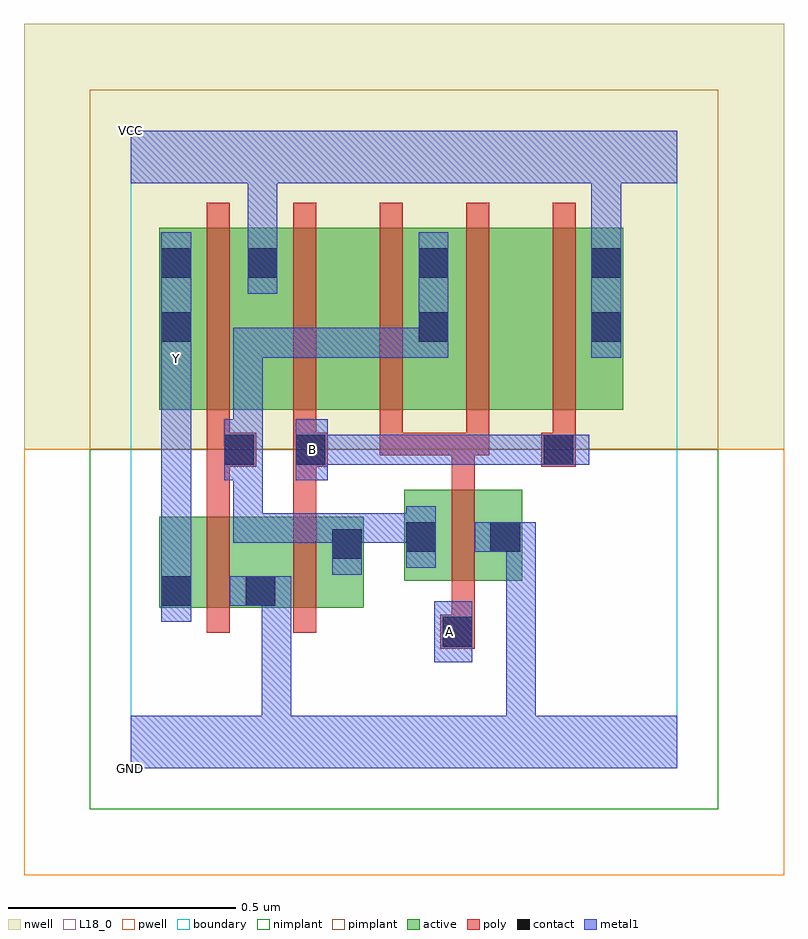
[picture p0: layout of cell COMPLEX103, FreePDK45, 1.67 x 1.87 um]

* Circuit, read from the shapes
.subckt COMPLEX103 A B GND VCC Y
M1 GND n1 Y VSUBS nfet w=0.2u l=0.05u
M2 n1 B GND VSUBS nfet w=0.2u l=0.05u
M3 GND A n1 VSUBS nfet w=0.2u l=0.05u
M4 VCC n1 Y n2 pfet w=0.4u l=0.05u
M5 n3 B VCC n2 pfet w=0.4u l=0.05u
M6 n1 A n3 n2 pfet w=0.4u l=0.05u
M7 n4 A n1 n2 pfet w=0.4u l=0.05u
M8 VCC B n4 n2 pfet w=0.4u l=0.05u
.ends

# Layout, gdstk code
import gdstk
lib = gdstk.Library(unit=1e-6, precision=1e-09)
def R(c, l, rs):  # rectangles x0, y0, x1, y1
    for r in rs: c.add(gdstk.rectangle(r[:2], r[2:], *l))
def A(c, l, x, y, w, h, nx, ny, dx, dy):  # array of equal rectangles
    R(c, l, [(x+i*dx, y+j*dy, x+i*dx+w, y+j*dy+h) for i in range(nx) for j in range(ny)])
active = (1, 0)
pwell = (2, 0)
nwell = (3, 0)
nimplant = (4, 0)
pimplant = (5, 0)
poly = (9, 0)
contact = (10, 0)
metal1 = (11, 0)
L18_0 = (18, 0)
boundary = (235, 0)

complex103 = lib.new_cell('COMPLEX103')
R(complex103, active, [(0.062,0.352,0.322,0.552), (0.062,0.352,0.137,0.552), (0.247,0.352,0.512,0.552), (0.247,0.352,0.322,0.427), (0.6,0.412,0.86,0.612), (0.437,0.445,0.512,0.552), (0.6,0.445,0.675,0.612), (0.785,0.445,0.86,0.612), (0.062,0.787,0.137,1.155), (0.062,0.787,0.327,1.187), (0.252,0.787,0.477,1.187), (0.477,0.787,0.702,1.187), (0.627,0.787,0.857,1.187), (0.857,0.787,1.082,1.187), (1.007,0.787,1.082,1.155), (0.252,0.907,0.327,1.155), (0.627,0.907,0.702,1.155)])
R(complex103, pwell, [(-0.235,-0.235,1.435,0.7)])
R(complex103, nwell, [(-0.235,0.7,1.435,1.635)])
R(complex103, nimplant, [(-0.09,-0.09,1.29,0.7)])
R(complex103, pimplant, [(-0.09,0.7,1.29,1.49)])
A(complex103, poly, 0.167, 0.687, 0.05, 0.095, 5, 1, 0.19, 0)
A(complex103, poly, 0.167, 0.732, 0.05, 0.51, 5, 1, 0.19, 0)
R(complex103, poly, [(0.68,0.262,0.755,0.337), (0.705,0.287,0.755,0.407), (0.167,0.297,0.217,0.607), (0.357,0.297,0.407,0.607), (0.705,0.357,0.755,0.667), (0.167,0.557,0.217,0.712), (0.357,0.557,0.407,0.712), (0.705,0.617,0.755,0.737), (0.167,0.662,0.275,0.737), (0.357,0.662,0.432,0.737), (0.902,0.662,0.977,0.737), (0.547,0.687,0.755,0.737), (0.547,0.687,0.597,0.737), (0.547,0.687,0.597,0.737), (0.547,0.687,0.597,0.737), (0.705,0.687,0.787,0.737)])
R(complex103, contact, [(0.685,0.267,0.75,0.332), (0.067,0.357,0.132,0.422), (0.252,0.357,0.317,0.422), (0.442,0.46,0.507,0.525), (0.605,0.475,0.67,0.54), (0.79,0.475,0.855,0.54), (0.205,0.667,0.27,0.732), (0.362,0.667,0.427,0.732), (0.907,0.667,0.972,0.732), (0.067,0.937,0.132,1.002), (0.632,0.937,0.697,1.002), (1.012,0.937,1.077,1.002), (0.067,1.077,0.132,1.142), (0.257,1.077,0.322,1.142), (0.632,1.077,0.697,1.142), (1.012,1.077,1.077,1.142)])
R(complex103, metal1, [(0,0,1.2,0.115), (0.287,0.05,0.352,0.422), (0.825,0.05,0.89,0.115), (0.825,0.05,0.89,0.115), (0.825,0.05,0.89,0.115), (0.825,0.05,0.89,0.115), (0.825,0.05,0.89,0.115), (0.825,0.05,0.89,0.115), (0.825,0.05,0.89,0.54), (0.667,0.232,0.75,0.367), (0.067,0.322,0.132,0.457), (0.217,0.357,0.352,0.422), (0.287,0.357,0.352,0.422), (0.287,0.357,0.352,0.422), (0.287,0.357,0.352,0.422), (0.287,0.357,0.352,0.422), (0.287,0.357,0.352,0.422), (0.287,0.357,0.352,0.422), (0.067,0.392,0.132,0.897), (0.442,0.425,0.507,0.56), (0.605,0.44,0.67,0.575), (0.755,0.475,0.89,0.54), (0.225,0.495,0.29,0.56), (0.225,0.495,0.452,0.56), (0.225,0.495,0.29,0.767), (0.387,0.495,0.452,0.56), (0.387,0.495,0.507,0.56), (0.442,0.495,0.59,0.56), (0.525,0.495,0.59,0.56), (0.525,0.495,0.67,0.56), (0.205,0.632,0.27,0.767), (0.362,0.632,0.432,0.767), (0.367,0.667,0.432,0.732), (0.367,0.667,0.432,0.732), (0.367,0.667,0.595,0.732), (0.53,0.667,0.595,0.732), (0.53,0.667,0.645,0.732), (0.58,0.667,0.645,0.732), (0.58,0.667,0.732,0.732), (0.667,0.667,0.732,0.732), (0.667,0.667,0.937,0.732), (0.872,0.667,0.937,0.732), (0.872,0.667,0.937,0.732), (0.872,0.667,1.007,0.732), (0.205,0.702,0.29,0.767), (0.225,0.702,0.29,0.767), (0.225,0.702,0.29,0.967), (0.067,0.832,0.132,0.967), (0.067,0.902,0.132,1.177), (0.067,0.902,0.132,0.967), (0.225,0.902,0.29,0.967), (0.225,0.902,0.452,0.967), (0.387,0.902,0.452,0.967), (0.387,0.902,0.452,0.967), (0.387,0.902,0.452,0.967), (0.387,0.902,0.59,0.967), (0.525,0.902,0.59,0.967), (0.525,0.902,0.697,0.967), (0.632,0.902,0.697,1.177), (1.012,0.902,1.077,1.177), (0.257,1.042,0.322,1.177), (0.257,1.112,0.322,1.35), (1.012,1.112,1.077,1.35), (0,1.285,1.2,1.4)])
R(complex103, L18_0, [(0,0,1.2,0.115), (0.287,0.05,0.352,0.422), (0.825,0.05,0.89,0.115), (0.825,0.05,0.89,0.115), (0.825,0.05,0.89,0.115), (0.825,0.05,0.89,0.115), (0.825,0.05,0.89,0.115), (0.825,0.05,0.89,0.115), (0.825,0.05,0.89,0.54), (0.667,0.232,0.75,0.367), (0.667,0.267,0.732,0.332), (0.067,0.322,0.132,0.457), (0.217,0.357,0.352,0.422), (0.287,0.357,0.352,0.422), (0.287,0.357,0.352,0.422), (0.287,0.357,0.352,0.422), (0.287,0.357,0.352,0.422), (0.287,0.357,0.352,0.422), (0.287,0.357,0.352,0.422), (0.067,0.392,0.132,0.897), (0.755,0.475,0.89,0.54), (0.362,0.632,0.432,0.767), (0.367,0.667,0.432,0.732), (0.367,0.667,0.432,0.732), (0.367,0.667,0.432,0.732), (0.367,0.667,0.595,0.732), (0.53,0.667,0.595,0.732), (0.53,0.667,0.645,0.732), (0.58,0.667,0.645,0.732), (0.58,0.667,0.732,0.732), (0.667,0.667,0.732,0.732), (0.667,0.667,0.937,0.732), (0.872,0.667,0.937,0.732), (0.872,0.667,0.937,0.732), (0.872,0.667,1.007,0.732), (0.067,0.832,0.132,0.967), (0.067,0.867,0.132,0.932), (0.067,0.902,0.132,1.177), (0.067,0.902,0.132,0.967), (1.012,0.902,1.077,1.177), (0.257,1.042,0.322,1.177), (0.257,1.112,0.322,1.35), (1.012,1.112,1.077,1.35), (0,1.285,1.2,1.4)])
R(complex103, boundary, [(0,0,1.2,1.4)])
complex103.add(gdstk.Label('A', (0.7,0.3), layer=11, texttype=0))
complex103.add(gdstk.Label('B', (0.4,0.7), layer=11, texttype=0))
complex103.add(gdstk.Label('Y', (0.1,0.9), layer=11, texttype=0))
complex103.add(gdstk.Label('VCC', (0,1.4), layer=11, texttype=0))
complex103.add(gdstk.Label('GND', (0,0), layer=11, texttype=0))

lib.write_gds('COMPLEX103.gds')
